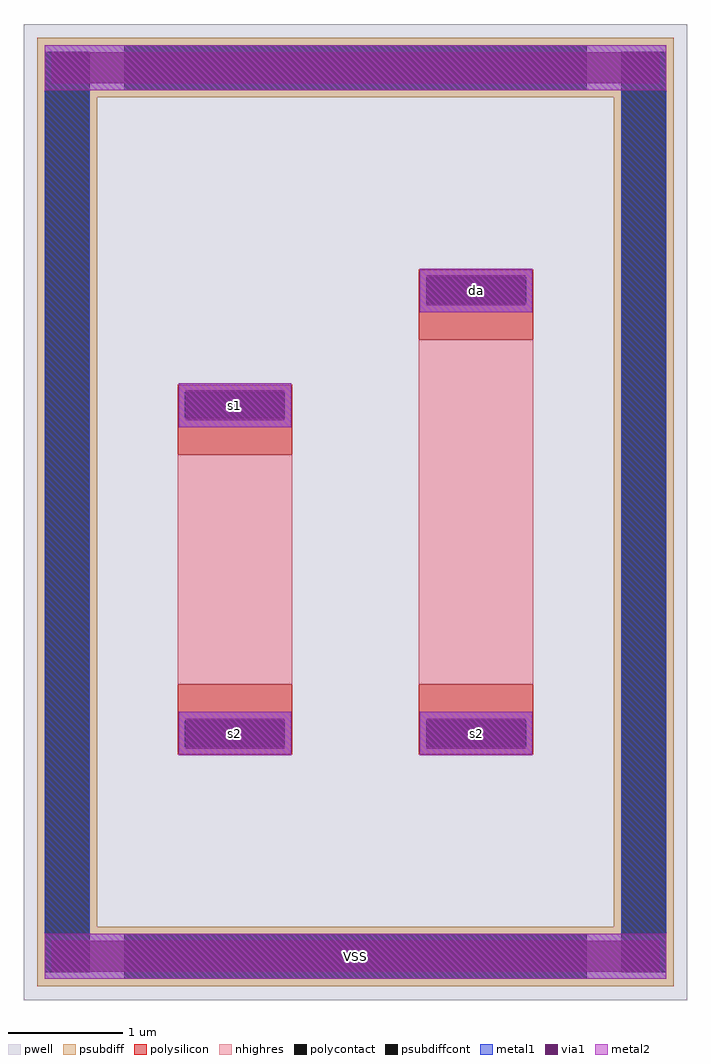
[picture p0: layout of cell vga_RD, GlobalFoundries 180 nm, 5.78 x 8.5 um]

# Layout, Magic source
magic
tech gf180mcuD
magscale 1 10
<< pwell >>
rect -368 -464 788 1236
<< psubdiff >>
rect -344 -440 764 -336
rect -344 1108 764 1212
rect -344 -336 -240 1108
rect 660 -336 764 1108
<< polysilicon >>
rect -100 486 100 608
rect -100 -36 100 86
rect 320 686 520 808
rect 320 -36 520 86
<< nhighres >>
rect -100 86 100 486
rect 320 86 520 686
<< psubdiffcont >>
rect -331 -416 -253 1188
rect 673 -416 751 1188
rect -193 1121 613 1199
rect -193 -427 613 -349
<< polycontact >>
rect -87 549 87 595
rect -87 -23 87 23
rect 333 749 507 795
rect 333 -23 507 23
<< metal1 >>
rect -98 549 98 595
rect -98 -23 98 23
rect 322 749 518 795
rect 322 -23 518 23
rect -98 -38 98 38
rect -98 534 98 610
rect 322 -38 518 38
rect 322 734 518 810
rect -331 -427 751 -349
rect -331 1121 751 1199
rect -331 -427 -253 1199
rect 673 -427 751 1199
rect -331 -427 751 -349
rect -331 1121 751 1199
<< metal2 >>
rect -98 -38 98 38
rect -98 534 98 610
rect 322 -38 518 38
rect 322 734 518 810
rect -331 -427 751 -349
rect -331 1121 751 1199
<< via1 >>
rect -86 -26 86 26
rect -86 546 86 598
rect 334 -26 506 26
rect 334 746 506 798
rect -319 -415 739 -361
rect -319 1133 739 1187
<< labels >>
flabel metal2 s -98 -38 98 38 0 FreeSans 80 0 0 0 s2
port 1 nsew signal bidirectional
flabel metal2 s -98 534 98 610 0 FreeSans 80 0 0 0 s1
port 2 nsew signal bidirectional
flabel metal2 s 322 -38 518 38 0 FreeSans 80 0 0 0 s2
port 1 nsew signal bidirectional
flabel metal2 s 322 734 518 810 0 FreeSans 80 0 0 0 da
port 3 nsew signal bidirectional
flabel metal2 s -331 -427 751 -349 0 FreeSans 80 0 0 0 VSS
port 4 nsew signal bidirectional
<< end >>
